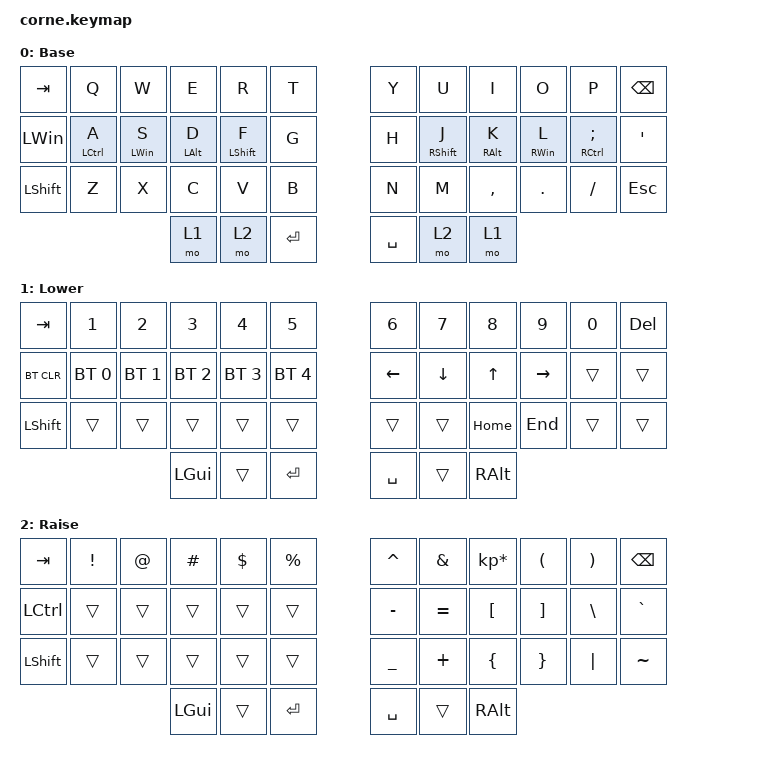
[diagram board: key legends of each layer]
/*
 * Copyright (c) 2020 The ZMK Contributors
 *
 * SPDX-License-Identifier: MIT
 */

#include <behaviors.dtsi>
#include <dt-bindings/zmk/bt.h>
#include <dt-bindings/zmk/keys.h>

&mt {
    require-prior-idle-ms = <150>;
    flavor = "balanced";
};

/ {
    keymap {
        compatible = "zmk,keymap";

        default_layer {
            // -----------------------------------------------------------------------------------------
            // |  TAB |  Q  |  W  |  E  |  R  |  T  |   |  Y  |  U   |  I  |  O  |  P  | BKSP |
            // | CTRL |  A  |  S  |  D  |  F  |  G  |   |  H  |  J   |  K  |  L  |  ;  |  '   |
            // | SHFT |  Z  |  X  |  C  |  V  |  B  |   |  N  |  M   |  ,  |  .  |  /  | ESC  |
            //                    | GUI | LWR | SPC |   | ENT | RSE  | ALT |

            display-name = "Base";
            bindings = <
&kp TAB       &kp Q        &kp W       &kp E           &kp R         &kp T      &kp Y      &kp U         &kp I            &kp O       &kp P                &kp BSPC
&kp LEFT_WIN  &mt LCTRL A  &mt LWIN S  &mt LEFT_ALT D  &mt LSHIFT F  &kp G      &kp H      &mt RSHIFT J  &mt RIGHT_ALT K  &mt RWIN L  &mt RCTRL SEMICOLON  &kp SQT
&kp LSHFT     &kp Z        &kp X       &kp C           &kp V         &kp B      &kp N      &kp M         &kp COMMA        &kp DOT     &kp FSLH             &kp ESC
                                       &mo 1           &mo 2         &kp RET    &kp SPACE  &mo 2         &mo 1
            >;
        };

        navigation {
            // -----------------------------------------------------------------------------------------
            // |  TAB |  1  |  2  |  3  |  4  |  5  |   |  6  |  7  |  8  |  9  |  0  | BKSP |
            // | BTCLR| BT1 | BT2 | BT3 | BT4 | BT5 |   | LFT | DWN |  UP | RGT |     |      |
            // | SHFT |     |     |     |     |     |   |     |     |     |     |     |      |
            //                    | GUI |     | SPC |   | ENT |     | ALT |

            display-name = "Lower";
            bindings = <
&kp TAB     &kp N1        &kp N2        &kp N3        &kp N4        &kp N5          &kp N6     &kp N7    &kp N8    &kp N9     &kp N0  &kp DELETE
&bt BT_CLR  &bt BT_SEL 0  &bt BT_SEL 1  &bt BT_SEL 2  &bt BT_SEL 3  &bt BT_SEL 4    &kp LEFT   &kp DOWN  &kp UP    &kp RIGHT  &trans  &trans
&kp LSHFT   &trans        &trans        &trans        &trans        &trans          &trans     &trans    &kp HOME  &kp END    &trans  &trans
                                        &kp LGUI      &trans        &kp RETURN      &kp SPACE  &trans    &kp RALT
            >;
        };

        symbols {
            // -----------------------------------------------------------------------------------------
            // |  TAB |  !  |  @  |  #  |  $  |  %  |   |  ^  |  &  |  *  |  (  |  )  | BKSP |
            // | CTRL |     |     |     |     |     |   |  -  |  =  |  [  |  ]  |  \  |  `   |
            // | SHFT |     |     |     |     |     |   |  _  |  +  |  {  |  }  | "|" |  ~   |
            //                    | GUI |     | SPC |   | ENT |     | ALT |

            display-name = "Raise";
            bindings = <
&kp TAB    &kp EXCL  &kp AT  &kp HASH  &kp DLLR  &kp PRCNT     &kp CARET  &kp AMPS   &kp KP_MULTIPLY  &kp LPAR  &kp RPAR  &kp BSPC
&kp LCTRL  &trans    &trans  &trans    &trans    &trans        &kp MINUS  &kp EQUAL  &kp LBKT         &kp RBKT  &kp BSLH  &kp GRAVE
&kp LSHFT  &trans    &trans  &trans    &trans    &trans        &kp UNDER  &kp PLUS   &kp LBRC         &kp RBRC  &kp PIPE  &kp TILDE
                             &kp LGUI  &trans    &kp RETURN    &kp SPACE  &trans     &kp RALT
            >;
        };

        extra_1 { status = "reserved"; };

        extra_2 { status = "reserved"; };

        extra_3 { status = "reserved"; };
    };
};
